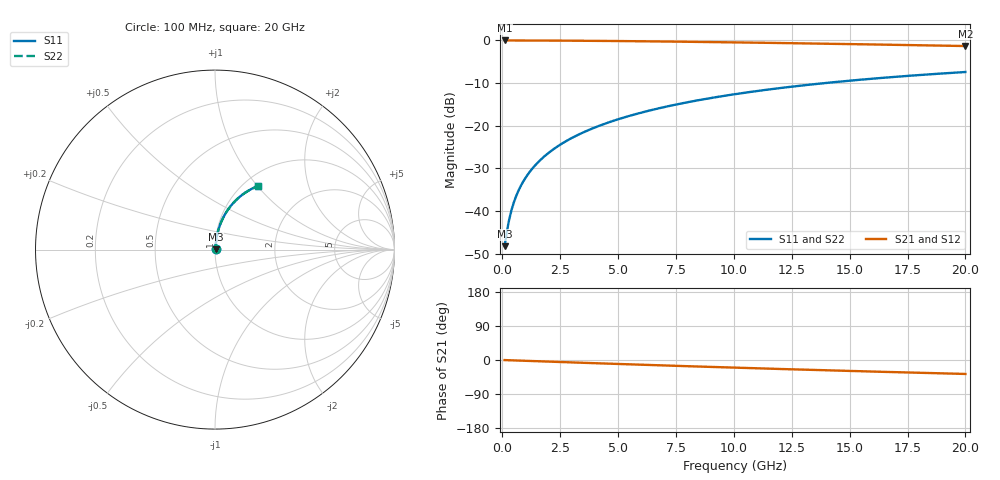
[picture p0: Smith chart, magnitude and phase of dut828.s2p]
! Touchstone file exported from HFSS 2024.1.0
!  File:  C:/UserFiles/LocalFiles/RDL_TSV_Batchsim/temp_RDL_bottom_828_1779863115.aedt
!  Generated:  02:27:46 PM May 27, 2026
!  Design:  RDL_bottom
!  Project:  temp_RDL_bottom_828_1779863115
!  Setup:  Setup1
!  Solution:  Sweep
! Variables:
!  dtsv = 10.80580581um
!  hbump = 3um
!  htsv = 99.03um
!  ldown = 450.53um
!  lrdl = 100um
!  p = 40
!  p1 = 53.86um
!  rhole = 1um
!  t = 450um
!  tdown = 4.2um
!  trdl = 3.915915916um
!  wdown = 13.14um
!  wrdl = 20um
# GHz S MA R 50.000000
! Terminal data exported
! Port[1] = RDL1_T1
! Port[2] = RDL1_T2
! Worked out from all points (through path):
!   200 points, 100 MHz to 20 GHz, reference 50 ohm
!   highest |S21| = -0.03 dB at 100 MHz (marker M1); lowest = -1.3 dB at 20 GHz (marker M2)
!   group delay of S21, straight-line fit = 5.11 ps
!   lowest |S11| = -48.2 dB at 100 MHz (marker M3), VSWR 1.01, Z = 50.3 + j0.249 ohm
!   |S11| at or under -10 dB: start of sweep to 13.96 GHz
!   |S22| runs from -48.2 to -7.4 dB; largest |S21 - S12| = 3.4e-15
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0.1  0.003875 39.7  0.997 -0.2  0.997 -0.2  0.003875 39.7
! Gamma 0 0 0 0
! Port Impedance 50 0 50 0
0.2  0.005799 58.4  0.9969 -0.4  0.9969 -0.4  0.005799 58.4
0.3  0.008019 67.0  0.9969 -0.7  0.9969 -0.7  0.008019 67.0
0.4  0.01033 71.7  0.9967 -0.9  0.9967 -0.9  0.01033 71.7
0.5  0.01266 74.6  0.9966 -1.1  0.9966 -1.1  0.01266 74.6
0.6  0.01501 76.5  0.9965 -1.3  0.9965 -1.3  0.01501 76.5
0.8  0.01971 78.9  0.9963 -1.7  0.9963 -1.7  0.01971 78.9
1.1  0.02677 80.8  0.9958 -2.4  0.9958 -2.4  0.02677 80.8
1.5  0.03621 81.9  0.9951 -3.2  0.9951 -3.2  0.03621 81.9
1.8  0.0433 82.3  0.9945 -3.8  0.9945 -3.8  0.0433 82.3
2.1  0.0504 82.4  0.9937 -4.5  0.9937 -4.5  0.0504 82.4
2.7  0.0646 82.3  0.9919 -5.7  0.9919 -5.7  0.0646 82.3
3.5  0.08352 81.7  0.9888 -7.4  0.9888 -7.4  0.08352 81.7
4.2  0.1 80.9  0.9857 -8.9  0.9857 -8.9  0.1 80.9
5  0.1188 79.8  0.9815 -10.5  0.9815 -10.5  0.1188 79.8
5.9  0.1399 78.6  0.9763 -12.3  0.9763 -12.3  0.1399 78.6
6.8  0.1607 77.2  0.9706 -14.1  0.9706 -14.1  0.1607 77.2
8.3  0.195 74.8  0.9601 -16.9  0.9601 -16.9  0.195 74.8
10.1  0.2352 71.9  0.9462 -20.3  0.9462 -20.3  0.2352 71.9
13.4  0.305 66.5  0.9184 -26.2  0.9184 -26.2  0.305 66.5
16.7  0.3687 61.2  0.8885 -31.7  0.8885 -31.7  0.3687 61.2
20  0.4256 56.2  0.8577 -36.8  0.8577 -36.8  0.4255 56.2
